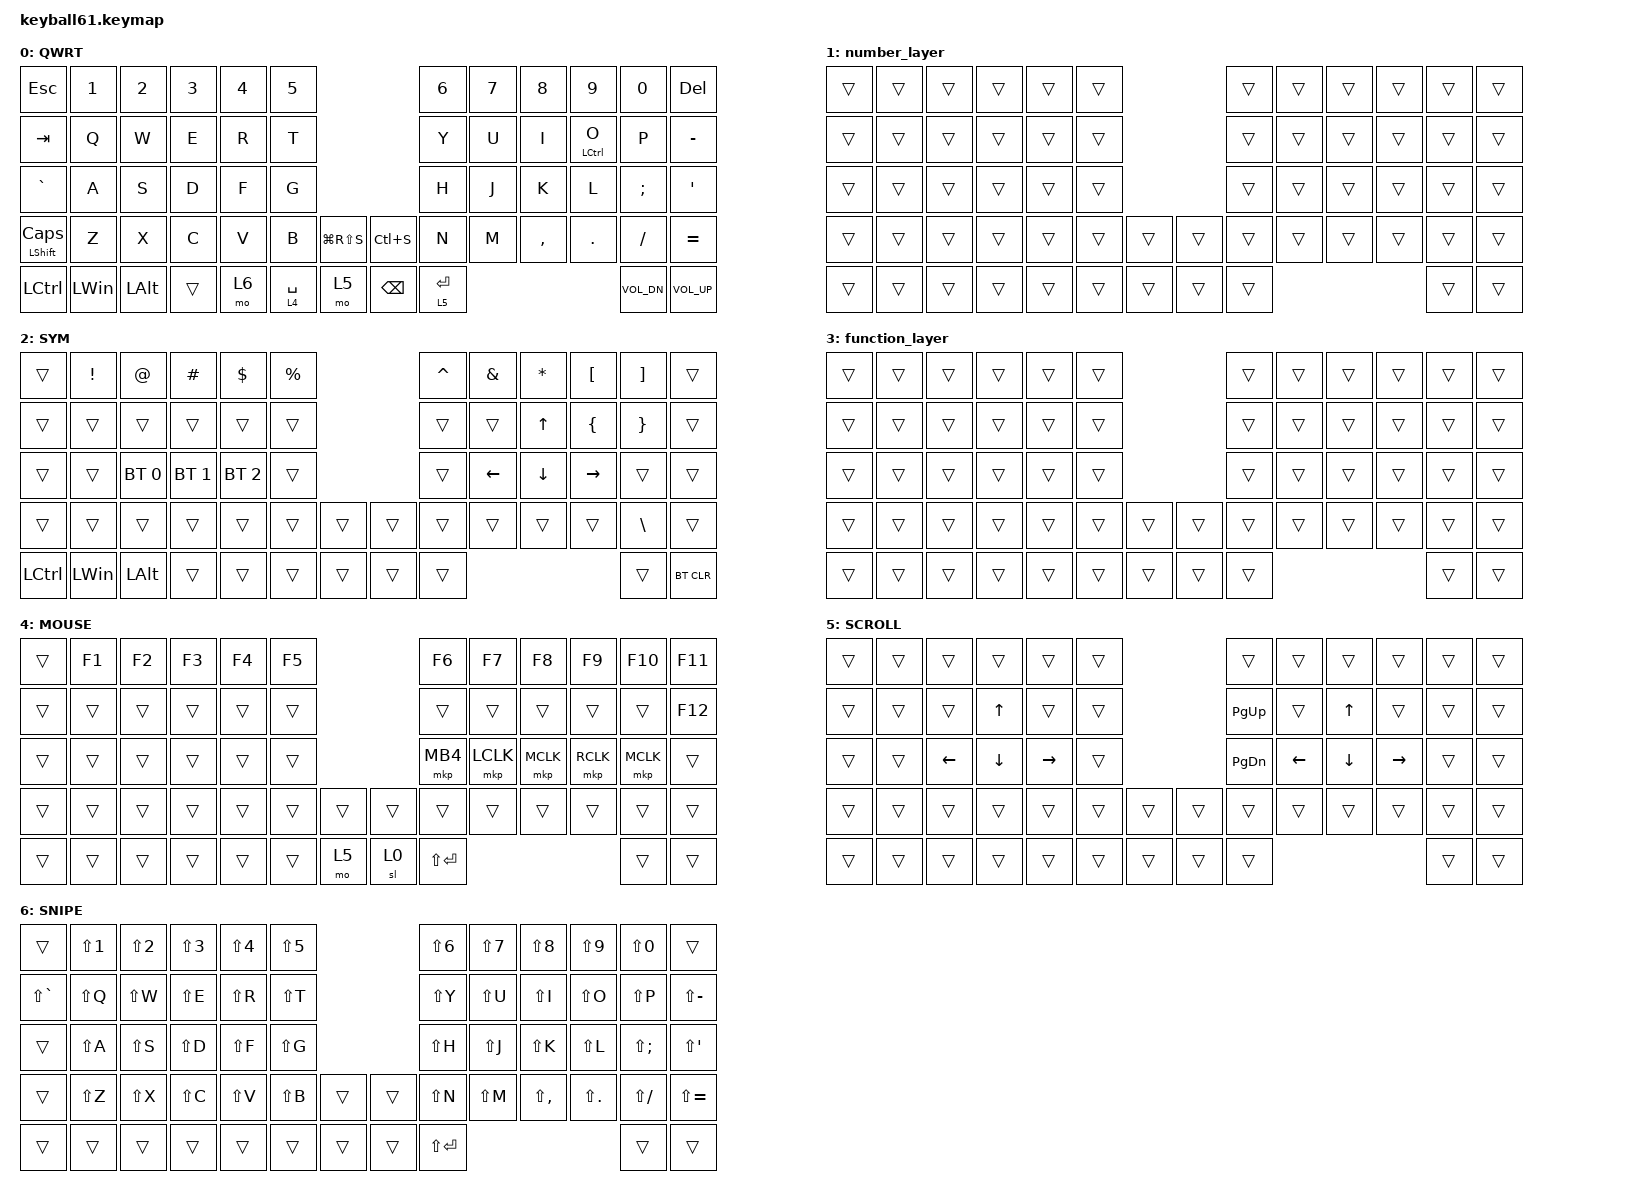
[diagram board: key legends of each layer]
#define DEFAULT 0
#define SYM     1
#define FUN     2
#define MOUSE   3
#define SCROLL  4
#define SNIPE   5

#include <behaviors/mouse_keys.dtsi>
#include <dt-bindings/zmk/mouse.h>
#include <behaviors.dtsi>
#include <dt-bindings/zmk/bt.h>
#include <dt-bindings/zmk/keys.h>
#include <dt-bindings/zmk/pointing.h>

&lt {
    tapping-term-ms = <240>;
    flavor = "balanced";
    quick-tap-ms = <150>;
};

&mt {
    tapping-term-ms = <200>;
    flavor = "tap-preferred";
    quick-tap-ms = <150>;
};

/ {
    behaviors {
        shift_and_snipe: shift_and_snipe {
            compatible = "zmk,behavior-tap-dance";
            label = "SHIFT_AND_SNIPE";
            #binding-cells = <0>;
            bindings = <&kp LEFT_SHIFT>, <&mo 6>;
        };
    };

    keymap {
        compatible = "zmk,keymap";

        default_layer {
            label = "QWRT";
            bindings = <
&kp ESC                  &kp N1        &kp N2        &kp N3  &kp N4  &kp N5                                     &kp N6       &kp N7  &kp N8     &kp N9       &kp N0        &kp DELETE
&kp TAB                  &kp Q         &kp W         &kp E   &kp R   &kp T                                      &kp Y        &kp U   &kp I      &mt LCTRL O  &kp P         &kp MINUS
&kp GRAVE                &kp A         &kp S         &kp D   &kp F   &kp G                                      &kp H        &kp J   &kp K      &kp L        &kp SEMI      &kp SQT
&mt LEFT_SHIFT CAPSLOCK  &kp Z         &kp X         &kp C   &kp V   &kp B        &kp LG(RS(S))  &kp LC(S)      &kp N        &kp M   &kp COMMA  &kp DOT      &kp FSLH      &kp EQUAL
&kp LCTRL                &kp LEFT_WIN  &kp LEFT_ALT  &trans  &mo 6   &lt 4 SPACE  &mo 5          &kp BACKSPACE  &lt 5 ENTER                                  &kp C_VOL_DN  &kp C_VOL_UP
            >;
        };

        number_layer {
            bindings = <
&trans  &trans  &trans  &trans  &trans  &trans                  &trans  &trans  &trans  &trans  &trans  &trans
&trans  &trans  &trans  &trans  &trans  &trans                  &trans  &trans  &trans  &trans  &trans  &trans
&trans  &trans  &trans  &trans  &trans  &trans                  &trans  &trans  &trans  &trans  &trans  &trans
&trans  &trans  &trans  &trans  &trans  &trans  &trans  &trans  &trans  &trans  &trans  &trans  &trans  &trans
&trans  &trans  &trans  &trans  &trans  &trans  &trans  &trans  &trans                          &trans  &trans
            >;
        };

        symbol_layer {
            label = "SYM";
            bindings = <
&trans     &kp EXCLAMATION  &kp AT_SIGN   &kp HASH      &kp DOLLAR    &kp PERCENT                  &kp CARET  &kp AMPERSAND  &kp ASTERISK    &kp LEFT_BRACKET  &kp RIGHT_BRACKET  &trans
&trans     &trans           &trans        &trans        &trans        &trans                       &trans     &trans         &kp UP_ARROW    &kp LEFT_BRACE    &kp RIGHT_BRACE    &trans
&trans     &trans           &bt BT_SEL 0  &bt BT_SEL 1  &bt BT_SEL 2  &trans                       &trans     &kp LEFT       &kp DOWN_ARROW  &kp RIGHT         &trans             &trans
&trans     &trans           &trans        &trans        &trans        &trans       &trans  &trans  &trans     &trans         &trans          &trans            &kp BACKSLASH      &trans
&kp LCTRL  &kp LEFT_WIN     &kp LEFT_ALT  &trans        &trans        &trans       &trans  &trans  &trans                                                      &trans             &bt BT_CLR
            >;
        };

        function_layer {
            bindings = <
&trans  &trans  &trans  &trans  &trans  &trans                  &trans  &trans  &trans  &trans  &trans  &trans
&trans  &trans  &trans  &trans  &trans  &trans                  &trans  &trans  &trans  &trans  &trans  &trans
&trans  &trans  &trans  &trans  &trans  &trans                  &trans  &trans  &trans  &trans  &trans  &trans
&trans  &trans  &trans  &trans  &trans  &trans  &trans  &trans  &trans  &trans  &trans  &trans  &trans  &trans
&trans  &trans  &trans  &trans  &trans  &trans  &trans  &trans  &trans                          &trans  &trans
            >;
        };

        mouse_layer {
            label = "MOUSE";
            bindings = <
&trans  &kp F1  &kp F2  &kp F3  &kp F4  &kp F5                  &kp F6         &kp F7     &kp F8     &kp F9     &kp F10    &kp F11
&trans  &trans  &trans  &trans  &trans  &trans                  &trans         &trans     &trans     &trans     &trans     &kp F12
&trans  &trans  &trans  &trans  &trans  &trans                  &mkp MB4       &mkp LCLK  &mkp MCLK  &mkp RCLK  &mkp MCLK  &trans
&trans  &trans  &trans  &trans  &trans  &trans  &trans  &trans  &trans         &trans     &trans     &trans     &trans     &trans
&trans  &trans  &trans  &trans  &trans  &trans  &mo 5   &sl 0   &kp LS(ENTER)                                   &trans     &trans
            >;
        };

        scroll_layer {
            label = "SCROLL";
            bindings = <
&trans  &trans  &trans          &trans          &trans           &trans                  &trans         &trans          &trans          &trans           &trans  &trans
&trans  &trans  &trans          &kp UP_ARROW    &trans           &trans                  &kp PAGE_UP    &trans          &kp UP_ARROW    &trans           &trans  &trans
&trans  &trans  &kp LEFT_ARROW  &kp DOWN_ARROW  &kp RIGHT_ARROW  &trans                  &kp PAGE_DOWN  &kp LEFT_ARROW  &kp DOWN_ARROW  &kp RIGHT_ARROW  &trans  &trans
&trans  &trans  &trans          &trans          &trans           &trans  &trans  &trans  &trans         &trans          &trans          &trans           &trans  &trans
&trans  &trans  &trans          &trans          &trans           &trans  &trans  &trans  &trans                                                          &trans  &trans
            >;
        };

        snipe_layer {
            label = "SNIPE";
            bindings = <
&trans         &kp LS(N1)  &kp LS(N2)  &kp LS(N3)  &kp LS(N4)  &kp LS(N5)                  &kp LS(N6)     &kp LS(N7)  &kp LS(N8)     &kp LS(N9)   &kp LS(N0)    &trans
&kp LS(GRAVE)  &kp LS(Q)   &kp LS(W)   &kp LS(E)   &kp LS(R)   &kp LS(T)                   &kp LS(Y)      &kp LS(U)   &kp LS(I)      &kp LS(O)    &kp LS(P)     &kp LS(MINUS)
&trans         &kp LS(A)   &kp LS(S)   &kp LS(D)   &kp LS(F)   &kp LS(G)                   &kp LS(H)      &kp LS(J)   &kp LS(K)      &kp LS(L)    &kp LS(SEMI)  &kp LS(APOS)
&trans         &kp LS(Z)   &kp LS(X)   &kp LS(C)   &kp LS(V)   &kp LS(B)   &trans  &trans  &kp LS(N)      &kp LS(M)   &kp LS(COMMA)  &kp LS(DOT)  &kp LS(FSLH)  &kp LS(EQUAL)
&trans         &trans      &trans      &trans      &trans      &trans      &trans  &trans  &kp LS(ENTER)                                          &trans        &trans
            >;
        };
    };
};
